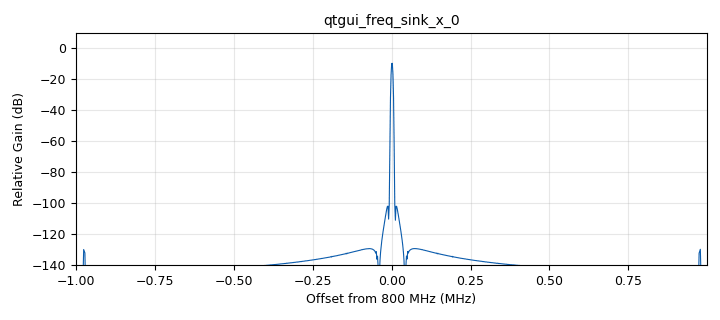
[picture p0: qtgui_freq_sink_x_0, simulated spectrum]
options:
  parameters:
    author: ubuntu
    generate_options: qt_gui
    generator_class_name: PythonQtGuiGenerator
    generator_module: gnuradio.grc.workflows.python_qt_gui
    id: signal_generator_hackrf
    output_language: python
    title: Not titled yet
  states: {}

blocks:
- name: center_freq
  id: variable
  parameters:
    value: 800e6
  states: {}
- name: samp_rate
  id: variable
  parameters:
    value: 2e6
  states: {}
- name: analog_sig_source_x_0
  id: analog_sig_source_x
  parameters:
    amp: '1'
    freq: '1000'
    offset: '0'
    phase: '0'
    samp_rate: samp_rate
    type: complex
    waveform: analog.GR_COS_WAVE
  states: {}
- name: blocks_multiply_const_vxx_0
  id: blocks_multiply_const_vxx
  parameters:
    const: '1'
    type: complex
  states: {}
- name: osmosdr_sink_0
  id: osmosdr_sink
  parameters:
    bb_gain0: '20'
    freq0: center_freq
    gain0: '10'
    if_gain0: '20'
    sample_rate: samp_rate
    sync: sync
    type: fc32
  states: {}
- name: qtgui_freq_sink_x_0
  id: qtgui_freq_sink_x
  parameters:
    bw: samp_rate
    fc: center_freq
    fftsize: '1024'
    type: complex
  states: {}

connections:
- [analog_sig_source_x_0, '0', blocks_multiply_const_vxx_0, '0']
- [blocks_multiply_const_vxx_0, '0', osmosdr_sink_0, '0']
- [blocks_multiply_const_vxx_0, '0', qtgui_freq_sink_x_0, '0']

metadata:
  file_format: 1
  grc_version: v3.11.0.0git-945-g22bc9e07
